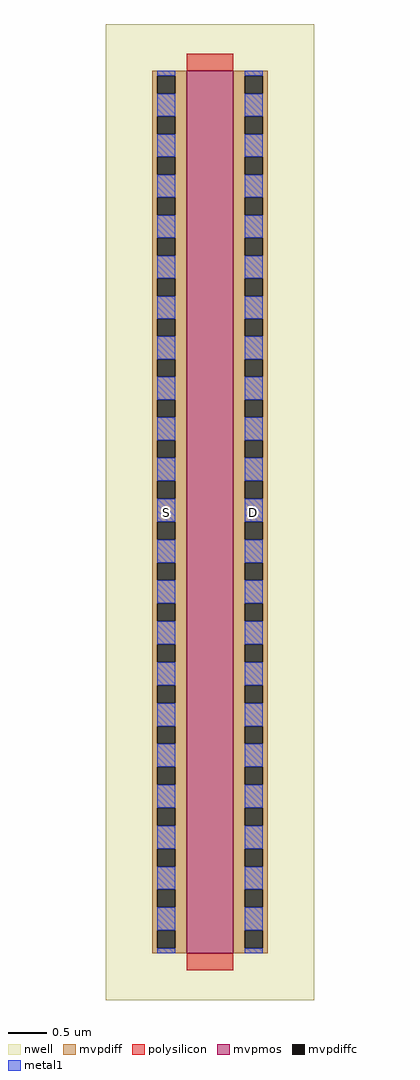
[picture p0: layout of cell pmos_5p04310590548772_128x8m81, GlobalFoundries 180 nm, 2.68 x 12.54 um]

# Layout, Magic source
magic
tech gf180mcuB
magscale 1 10
<< nwell >>
rect -208 -120 328 2388
<< mvpmos >>
rect 0 0 120 2268
<< mvpdiff >>
rect -88 2255 0 2268
rect -88 2209 -75 2255
rect -29 2209 0 2255
rect -88 2151 0 2209
rect -88 2105 -75 2151
rect -29 2105 0 2151
rect -88 2047 0 2105
rect -88 2001 -75 2047
rect -29 2001 0 2047
rect -88 1943 0 2001
rect -88 1897 -75 1943
rect -29 1897 0 1943
rect -88 1839 0 1897
rect -88 1793 -75 1839
rect -29 1793 0 1839
rect -88 1735 0 1793
rect -88 1689 -75 1735
rect -29 1689 0 1735
rect -88 1631 0 1689
rect -88 1585 -75 1631
rect -29 1585 0 1631
rect -88 1527 0 1585
rect -88 1481 -75 1527
rect -29 1481 0 1527
rect -88 1423 0 1481
rect -88 1377 -75 1423
rect -29 1377 0 1423
rect -88 1319 0 1377
rect -88 1273 -75 1319
rect -29 1273 0 1319
rect -88 1214 0 1273
rect -88 1168 -75 1214
rect -29 1168 0 1214
rect -88 1109 0 1168
rect -88 1063 -75 1109
rect -29 1063 0 1109
rect -88 1004 0 1063
rect -88 958 -75 1004
rect -29 958 0 1004
rect -88 899 0 958
rect -88 853 -75 899
rect -29 853 0 899
rect -88 794 0 853
rect -88 748 -75 794
rect -29 748 0 794
rect -88 689 0 748
rect -88 643 -75 689
rect -29 643 0 689
rect -88 584 0 643
rect -88 538 -75 584
rect -29 538 0 584
rect -88 479 0 538
rect -88 433 -75 479
rect -29 433 0 479
rect -88 374 0 433
rect -88 328 -75 374
rect -29 328 0 374
rect -88 269 0 328
rect -88 223 -75 269
rect -29 223 0 269
rect -88 164 0 223
rect -88 118 -75 164
rect -29 118 0 164
rect -88 59 0 118
rect -88 13 -75 59
rect -29 13 0 59
rect -88 0 0 13
rect 120 2255 208 2268
rect 120 2209 149 2255
rect 195 2209 208 2255
rect 120 2151 208 2209
rect 120 2105 149 2151
rect 195 2105 208 2151
rect 120 2047 208 2105
rect 120 2001 149 2047
rect 195 2001 208 2047
rect 120 1943 208 2001
rect 120 1897 149 1943
rect 195 1897 208 1943
rect 120 1839 208 1897
rect 120 1793 149 1839
rect 195 1793 208 1839
rect 120 1735 208 1793
rect 120 1689 149 1735
rect 195 1689 208 1735
rect 120 1631 208 1689
rect 120 1585 149 1631
rect 195 1585 208 1631
rect 120 1527 208 1585
rect 120 1481 149 1527
rect 195 1481 208 1527
rect 120 1423 208 1481
rect 120 1377 149 1423
rect 195 1377 208 1423
rect 120 1319 208 1377
rect 120 1273 149 1319
rect 195 1273 208 1319
rect 120 1214 208 1273
rect 120 1168 149 1214
rect 195 1168 208 1214
rect 120 1109 208 1168
rect 120 1063 149 1109
rect 195 1063 208 1109
rect 120 1004 208 1063
rect 120 958 149 1004
rect 195 958 208 1004
rect 120 899 208 958
rect 120 853 149 899
rect 195 853 208 899
rect 120 794 208 853
rect 120 748 149 794
rect 195 748 208 794
rect 120 689 208 748
rect 120 643 149 689
rect 195 643 208 689
rect 120 584 208 643
rect 120 538 149 584
rect 195 538 208 584
rect 120 479 208 538
rect 120 433 149 479
rect 195 433 208 479
rect 120 374 208 433
rect 120 328 149 374
rect 195 328 208 374
rect 120 269 208 328
rect 120 223 149 269
rect 195 223 208 269
rect 120 164 208 223
rect 120 118 149 164
rect 195 118 208 164
rect 120 59 208 118
rect 120 13 149 59
rect 195 13 208 59
rect 120 0 208 13
<< mvpdiffc >>
rect -75 2209 -29 2255
rect -75 2105 -29 2151
rect -75 2001 -29 2047
rect -75 1897 -29 1943
rect -75 1793 -29 1839
rect -75 1689 -29 1735
rect -75 1585 -29 1631
rect -75 1481 -29 1527
rect -75 1377 -29 1423
rect -75 1273 -29 1319
rect -75 1168 -29 1214
rect -75 1063 -29 1109
rect -75 958 -29 1004
rect -75 853 -29 899
rect -75 748 -29 794
rect -75 643 -29 689
rect -75 538 -29 584
rect -75 433 -29 479
rect -75 328 -29 374
rect -75 223 -29 269
rect -75 118 -29 164
rect -75 13 -29 59
rect 149 2209 195 2255
rect 149 2105 195 2151
rect 149 2001 195 2047
rect 149 1897 195 1943
rect 149 1793 195 1839
rect 149 1689 195 1735
rect 149 1585 195 1631
rect 149 1481 195 1527
rect 149 1377 195 1423
rect 149 1273 195 1319
rect 149 1168 195 1214
rect 149 1063 195 1109
rect 149 958 195 1004
rect 149 853 195 899
rect 149 748 195 794
rect 149 643 195 689
rect 149 538 195 584
rect 149 433 195 479
rect 149 328 195 374
rect 149 223 195 269
rect 149 118 195 164
rect 149 13 195 59
<< polysilicon >>
rect 0 2268 120 2312
rect 0 -44 120 0
<< metal1 >>
rect -75 2255 -29 2268
rect -75 2151 -29 2209
rect -75 2047 -29 2105
rect -75 1943 -29 2001
rect -75 1839 -29 1897
rect -75 1735 -29 1793
rect -75 1631 -29 1689
rect -75 1527 -29 1585
rect -75 1423 -29 1481
rect -75 1319 -29 1377
rect -75 1214 -29 1273
rect -75 1109 -29 1168
rect -75 1004 -29 1063
rect -75 899 -29 958
rect -75 794 -29 853
rect -75 689 -29 748
rect -75 584 -29 643
rect -75 479 -29 538
rect -75 374 -29 433
rect -75 269 -29 328
rect -75 164 -29 223
rect -75 59 -29 118
rect -75 0 -29 13
rect 149 2255 195 2268
rect 149 2151 195 2209
rect 149 2047 195 2105
rect 149 1943 195 2001
rect 149 1839 195 1897
rect 149 1735 195 1793
rect 149 1631 195 1689
rect 149 1527 195 1585
rect 149 1423 195 1481
rect 149 1319 195 1377
rect 149 1214 195 1273
rect 149 1109 195 1168
rect 149 1004 195 1063
rect 149 899 195 958
rect 149 794 195 853
rect 149 689 195 748
rect 149 584 195 643
rect 149 479 195 538
rect 149 374 195 433
rect 149 269 195 328
rect 149 164 195 223
rect 149 59 195 118
rect 149 0 195 13
<< labels >>
flabel metal1 s -52 1134 -52 1134 0 FreeSans 400 0 0 0 S
flabel metal1 s 172 1134 172 1134 0 FreeSans 400 0 0 0 D
<< properties >>
string GDS_END 80742
string GDS_FILE $PDKPATH/libs.ref/gf180mcu_fd_ip_sram/gds/gf180mcu_fd_ip_sram__sram128x8m8wm1.gds
string GDS_START 77030
<< end >>
